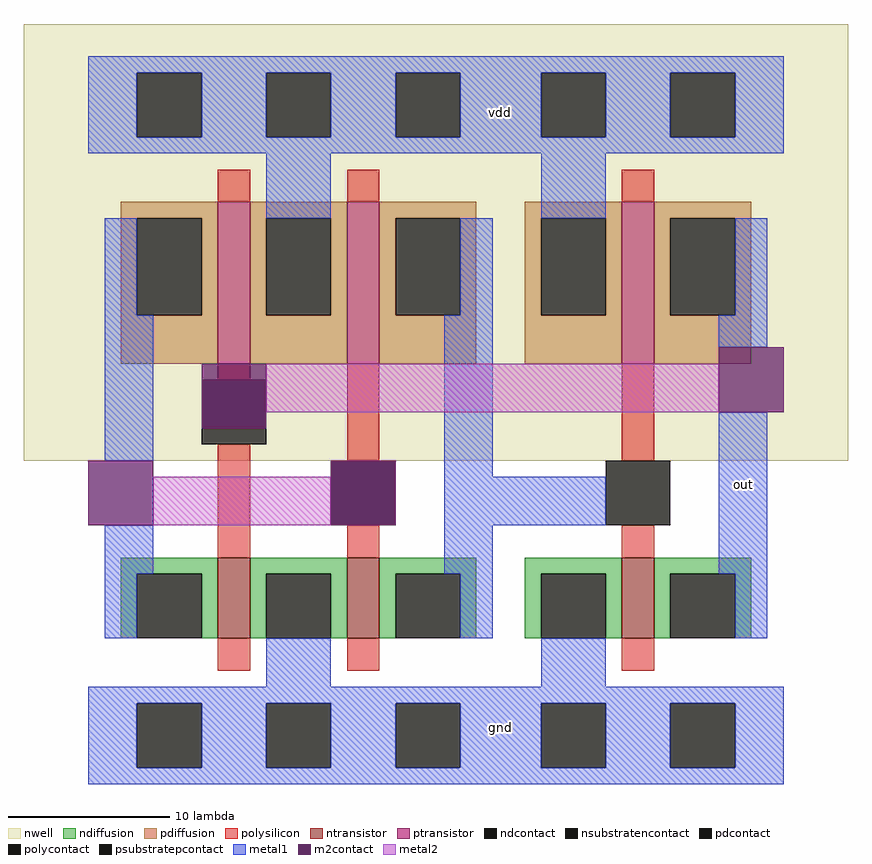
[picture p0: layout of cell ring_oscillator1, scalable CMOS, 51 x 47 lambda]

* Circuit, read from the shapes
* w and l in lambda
.subckt ring_oscillator1 gnd out vdd
M1 gnd out n1 gnd nfet w=5 l=2
M2 n2 n1 gnd gnd nfet w=5 l=2
M3 out n2 gnd gnd nfet w=5 l=2
M4 vdd out n1 vdd pfet w=10 l=2
M5 n2 n1 vdd vdd pfet w=10 l=2
M6 out n2 vdd vdd pfet w=10 l=2
.ends

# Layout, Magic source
magic
tech scmos
<< nwell >>
rect 56 77 107 104
<< ntransistor >>
rect 68 66 70 71
rect 76 66 78 71
rect 93 66 95 71
<< ptransistor >>
rect 68 83 70 93
rect 76 83 78 93
rect 93 83 95 93
<< ndiffusion >>
rect 62 70 68 71
rect 62 66 63 70
rect 67 66 68 70
rect 70 70 76 71
rect 70 66 71 70
rect 75 66 76 70
rect 78 70 84 71
rect 78 66 79 70
rect 83 66 84 70
rect 87 70 93 71
rect 87 66 88 70
rect 92 66 93 70
rect 95 70 101 71
rect 95 66 96 70
rect 100 66 101 70
<< pdiffusion >>
rect 62 92 68 93
rect 62 86 63 92
rect 67 86 68 92
rect 62 83 68 86
rect 70 92 76 93
rect 70 86 71 92
rect 75 86 76 92
rect 70 83 76 86
rect 78 92 84 93
rect 78 86 79 92
rect 83 86 84 92
rect 78 83 84 86
rect 87 92 93 93
rect 87 86 88 92
rect 92 86 93 92
rect 87 83 93 86
rect 95 92 101 93
rect 95 86 96 92
rect 100 86 101 92
rect 95 83 101 86
<< ndcontact >>
rect 63 66 67 70
rect 71 66 75 70
rect 79 66 83 70
rect 88 66 92 70
rect 96 66 100 70
<< pdcontact >>
rect 63 86 67 92
rect 71 86 75 92
rect 79 86 83 92
rect 88 86 92 92
rect 96 86 100 92
<< psubstratepcontact >>
rect 63 58 67 62
rect 71 58 75 62
rect 79 58 83 62
rect 88 58 92 62
rect 96 58 100 62
<< nsubstratencontact >>
rect 63 97 67 101
rect 71 97 75 101
rect 79 97 83 101
rect 88 97 92 101
rect 96 97 100 101
<< polysilicon >>
rect 68 93 70 95
rect 76 93 78 95
rect 93 93 95 95
rect 68 82 70 83
rect 68 71 70 78
rect 76 77 78 83
rect 93 77 95 83
rect 76 71 78 73
rect 93 71 95 73
rect 68 64 70 66
rect 76 64 78 66
rect 93 64 95 66
<< polycontact >>
rect 67 78 71 82
rect 75 73 79 77
rect 92 73 96 77
<< metal1 >>
rect 60 101 103 102
rect 60 97 63 101
rect 67 97 71 101
rect 75 97 79 101
rect 83 97 88 101
rect 92 97 96 101
rect 100 97 103 101
rect 60 96 103 97
rect 71 92 75 96
rect 88 92 92 96
rect 61 86 63 92
rect 83 86 85 92
rect 100 86 102 92
rect 61 77 64 86
rect 82 76 85 86
rect 99 84 102 86
rect 82 73 92 76
rect 61 70 64 73
rect 82 70 85 73
rect 99 70 102 80
rect 61 66 63 70
rect 83 66 85 70
rect 100 66 102 70
rect 71 63 75 66
rect 88 63 92 66
rect 60 62 103 63
rect 60 58 63 62
rect 67 58 71 62
rect 75 58 79 62
rect 83 58 88 62
rect 92 58 96 62
rect 100 58 103 62
rect 60 57 103 58
<< m2contact >>
rect 67 82 71 83
rect 67 79 71 82
rect 60 73 64 77
rect 75 73 79 77
rect 99 80 103 84
<< metal2 >>
rect 71 80 99 83
rect 64 73 75 76
<< labels >>
rlabel metal1 100 75 101 76 1 out
rlabel metal1 85 98 86 99 1 vdd
rlabel metal1 85 60 86 61 1 gnd
<< end >>
